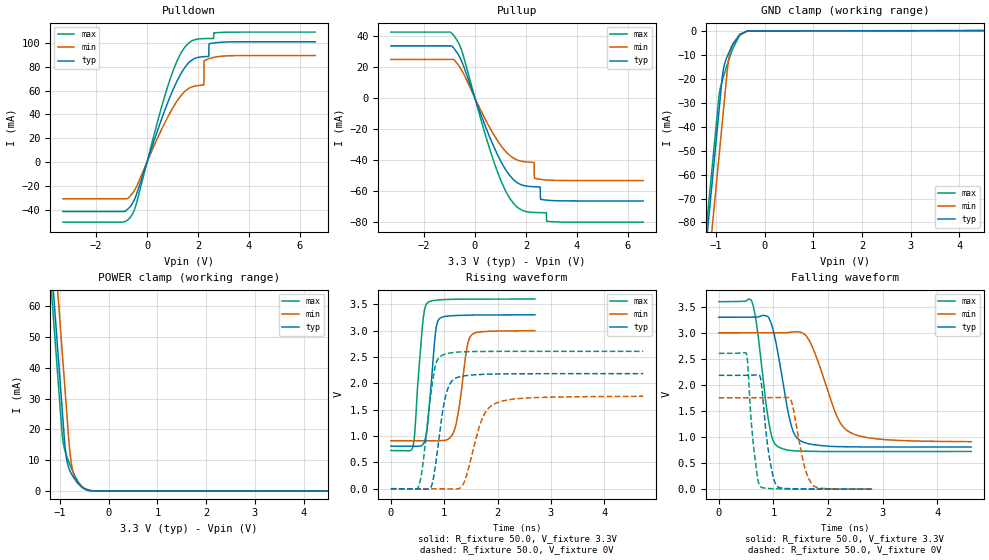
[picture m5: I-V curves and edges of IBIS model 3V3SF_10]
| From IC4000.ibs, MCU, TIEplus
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[Model] 3V3SF_10
Model_type I/O
Polarity   Non-Inverting
Enable   Active-Low
| CAP_THRESHOLD on pad IO is "CMOS" :
| Rising=10.0% of vdde3v3   Falling=90.0% of vdde3v3
| C_comp min and max val. don't necessarily correlate with the min and max pvt
| but are the smallest and greatest pad capacitance found.
| var   typ   min   max
C_comp   1.31090pF  1.26795pF  1.34510pF
Vinl = 750.0mV
Vinh = 2.25V
Vmeas = 1.65V   | Reference voltage for timing measurements
Cref  = 15.0pF   | Timing specification test load capacitance value
Rref  = 1.0MOhm   | Timing specification test load resistance value
Vref  = 3.3V   | Timing specification test load voltage
[Model Spec]
| TIME_THRESHOLD on pin ZI is "CORE" :
| Rising=50.0% of vdd   Falling=50.0% of vdd
Vinl 825.00000mV 750.00000mV 900.00000mV
Vinh 2.06250V 1.87500V 2.25000V
Vmeas 1.65000V 1.50000V 1.80000V
Vref 3.30000V 3.00000V 3.60000V
| variable   typ   min   max
[Temperature Range] 25.0 125.0 -40.0
| variable   typ   min   max
[Voltage Range] 3.3V 3.0V 3.6V
| variable   typ   min   max
[POWER Clamp Reference] 3.3V 3.0V 3.6V
| variable   typ   min   max
[GND Clamp Reference] 0V 0V 0V
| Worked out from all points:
|   slope of the pulldown table from 0 to 0.495 V, typ, clamps not added: 15.7 ohm
|   slope of the pullup table from 0 to 0.495 V, typ, clamps not added: 22.8 ohm
|   GND clamp passes 1 mA (typ) near -0.46 V on its own axis
|   POWER clamp passes 1 mA (typ) near -0.53 V on its own axis
|   rising waveform, R_fixture 50.0, V_fixture 3.3V: 20-80 % time 123ps typ, 168ps min, 122ps max; typ from 0.809 V to 3.3 V
|   falling waveform, R_fixture 50.0, V_fixture 3.3V: 20-80 % time 256ps typ, 424ps min, 203ps max; typ from 3.3 V to 0.809 V
|   rising waveform, R_fixture 50.0, V_fixture 0V: 20-80 % time 188ps typ, 300ps min, 183ps max; typ from 0 V to 2.18 V
|   falling waveform, R_fixture 50.0, V_fixture 0V: 20-80 % time 149ps typ, 203ps min, 122ps max; typ from 2.18 V to 0 V
[POWER Clamp]
-3.3V     524.6mA    543.5mA    516.1mA
-1.18V    74.13mA    93.03mA    65.73mA
-1.13V    63.5mA     82.4mA     55.11mA
-1.08V    52.88mA    71.78mA    44.49mA
-1.02V    40.13mA    59.03mA    31.74mA
-950mV    25.26mA    44.16mA    17.6mA
-900mV    14.93mA    33.53mA    13.17mA
-860mV    9.966mA    25.03mA    11.19mA
-800mV    6.661mA    13.2mA     8.673mA
-730mV    4.611mA    5.971mA    6.078mA
-460mV    377.7uA    599uA      338.7uA
6.6V      0A         0A         0A
[GND Clamp]
-3.3V     -535.9mA   -555mA     -529.5mA
-1.29V    -108.7mA   -127.9mA   -102.4mA
-1.13V    -74.74mA   -93.9mA    -68.39mA
-980mV    -42.86mA   -62.03mA   -36.51mA
-940mV    -34.36mA   -53.53mA   -28.08mA
-870mV    -19.62mA   -38.65mA   -20.84mA
-840mV    -15.5mA    -32.28mA   -18.78mA
-750mV    -9.826mA   -13.78mA   -13.06mA
-690mV    -7.205mA   -7.402mA   -9.546mA
-510mV    -1.433mA   -1.704mA   -1.633mA
-360mV    -54.77uA   -167.6uA   -42.24uA
6.6V      207.7uA    165.9uA    268.6uA
| variable   typ   min   max
[Pullup Reference] 3.3V 3.0V 3.6V
| variable   typ   min   max
[Pulldown Reference] 0V 0V 0V
[Pullup]
-3.3V     33.71mA    24.97mA    42.63mA
-820mV    32.13mA    24.86mA    40.3mA
-490mV    22.58mA    17.13mA    29.14mA
880mV     -36.28mA   -27.26mA   -47.35mA
1.65V     -54.46mA   -39.85mA   -70.18mA
2.32V     -57.13mA   -41.48mA   -73.7mA
2.34V     -57.15mA   -51.66mA   -73.71mA
2.56V     -57.29mA   -52.32mA   -73.82mA
2.57V     -65.17mA   -52.35mA   -73.83mA
2.74V     -65.64mA   -52.67mA   -73.88mA
2.82V     -65.78mA   -52.78mA   -79.42mA
6.6V      -66.28mA   -53.12mA   -79.99mA
[Pulldown]
-3.3V     -41.49mA   -30.78mA   -50.48mA
-670mV    -37.68mA   -28.78mA   -46.92mA
-430mV    -28.08mA   -21.29mA   -35.73mA
910mV     55.22mA    41.72mA    69.95mA
1.67V     84.2mA     62.3mA     100.6mA
2.22V     88.47mA    64.68mA    103.6mA
2.23V     88.48mA    66.76mA    103.6mA
2.24V     88.5mA     85.12mA    103.7mA
2.42V     88.69mA    86.76mA    103.7mA
2.43V     99.17mA    86.84mA    103.7mA
2.58V     99.89mA    87.74mA    103.8mA
6.6V      101mA      89.4mA     109.1mA
[Ramp]
dV/dt_r 1.3099V/188.25171ps 1.05212V/300.21154ps 1.5632V/183.30229ps
dV/dt_f 1.49389V/256.0841ps 1.25263V/423.56639ps 1.72452V/202.50135ps
R_load = 50.0
| Removed startup time: 0s 0s 0s  .
| Removed end time: 2.68ns.
[Rising Waveform]
R_fixture   = 50.0
V_fixture   = 3.3V
V_fixture_min = 3.0V
V_fixture_max = 3.6V
0s        808.7mV    911mV      724mV
410ps     808mV      911mV      780mV
590ps     827.9mV    911.1mV    3.062V
680ps     1.133V     911.1mV    3.522V
830ps     2.89V      907.3mV    3.575V
910ps     3.225V     908.9mV    3.583V
1.2ns     3.285V     1.138V     3.595V
1.42ns    3.292V     2.637V     3.597V
1.51ns    3.294V     2.913V     3.597V
2.7ns     3.299V     2.999V     3.598V
| Removed startup time: 0s 0s 0s  .
| Removed end time: 4.6ns.
[Falling Waveform]
R_fixture   = 50.0
V_fixture   = 3.3V
V_fixture_min = 3.0V
V_fixture_max = 3.6V
0s        3.299V     2.999V     3.598V
610ps     3.302V     2.999V     3.591V
700ps     3.302V     2.999V     3.112V
930ps     3.26V      2.999V     1.202V
1.09ns    2.576V     3.001V     811.7mV
1.32ns    1.248V     3.014V     742mV
1.53ns    910.9mV    2.999V     729.9mV
2.17ns    816.6mV    1.382V     722.4mV
2.37ns    812.6mV    1.111V     722.4mV
4.62ns    808.7mV    911mV      724mV
| Removed startup time: 0s 0s 0s  .
| Removed end time: 4.71ns.
[Rising Waveform]
R_fixture   = 50.0
V_fixture   = 0V
V_fixture_min = 0V
V_fixture_max = 0V
0s        118.5uV    111.8uV    137.3uV
520ps     -4.522mV   201.5uV    39.01mV
770ps     73.97mV    -881.9uV   1.938V
850ps     536.9mV    -2.746mV   2.39V
950ps     1.324V     -2.822mV   2.524V
1.09ns    1.952V     -4.309mV   2.571V
1.34ns    2.135V     56.63mV    2.598V
1.7ns     2.169V     1.3V       2.604V
1.95ns    2.176V     1.614V     2.606V
4.73ns    2.183V     1.754V     2.605V
| Removed startup time: 0s 0s 0s  .
| Removed end time: 2.79ns.
[Falling Waveform]
R_fixture   = 50.0
V_fixture   = 0V
V_fixture_min = 0V
V_fixture_max = 0V
0s        2.183V     1.754V     2.605V
510ps     2.185V     1.754V     2.589V
630ps     2.188V     1.754V     894mV
770ps     2.105V     1.754V     44.11mV
920ps     653.7mV    1.756V     12.7mV
1.07ns    54.57mV    1.757V     6.523mV
1.33ns    8.419mV    1.684V     2.95mV
1.57ns    4.101mV    432.5mV    1.099mV
1.73ns    3.022mV    69.24mV    556.9uV
2.81ns    118.5uV    111.4uV    137.4uV
